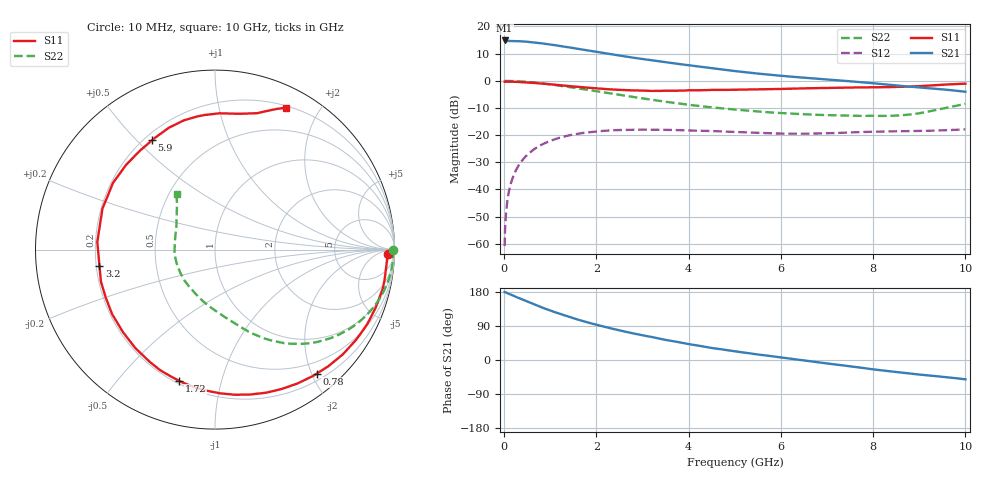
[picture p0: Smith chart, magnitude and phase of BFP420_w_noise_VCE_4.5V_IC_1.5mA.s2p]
! Infineon Technologies  Discrete & RF Semiconductors
! BFP420
! VCE =  4.5 V,  IC =  1.5 mA
! Common Emitter S-Parameters:  Jan 2016
# GHz  S  MA  R  50
!  f  S11  S21  S12  S22
! GHz  MAG  ANG  MAG  ANG  MAG  ANG  MAG  ANG
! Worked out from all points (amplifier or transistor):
!   233 points, 10 MHz to 10 GHz, reference 50 ohm
!   highest |S21| = 14.8 dB at 10 MHz (marker M1)
!   |S21| within 3 dB of that: start of sweep to 1.569 GHz
!   unconditionally stable (mu >= 1): 4.142 GHz to end of sweep
!   at 200 MHz: K = 0.06, MSG = 24.8 dB, |S12| = -35.0 dB
!   at 1.74 GHz: K = 0.31, MSG = 15.3 dB, |S12| = -19.2 dB
!   at 10 GHz: K = 1.27, MAG = 3.8 dB, |S12| = -17.9 dB
!   lowest NFmin = 0.52 dB at 900 MHz
!   S11 on the Smith chart (normalised r, x): 10 MHz: 39, -23; 780 MHz: 0.30, -2.07; 1.72 GHz: 0.22, -0.74; 3.2 GHz: 0.21, -0.07; 5.9 GHz: 0.23, +0.55; 10 GHz: 0.22, +1.60
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0.01  0.9628 -1.3  5.526 179.2  0.0009 54.1  0.9936 0.0
0.025  0.9619 -1.5  5.355 178.9  0.0023 73.1  0.9936 -0.8
0.06  0.9602 -3.9  5.385 176.8  0.0053 78.5  0.9938 -2.0
0.17  0.9593 -11.2  5.401 171.2  0.0151 81.0  0.99 -5.8
0.34  0.9481 -22.4  5.34 162.4  0.0298 75.9  0.9765 -11.6
0.5  0.9325 -32.8  5.229 154.1  0.0432 70.3  0.9558 -16.9
0.78  0.8936 -50.7  4.933 140.5  0.0642 60.3  0.9053 -25.6
1  0.8608 -64.5  4.661 130.4  0.0784 53.0  0.859 -31.9
1.2  0.8306 -76.4  4.389 121.9  0.0893 46.8  0.8137 -37.2
1.68  0.7634 -103.1  3.779 103.7  0.1084 33.7  0.7071 -48.0
1.72  0.7582 -105.2  3.729 102.3  0.1096 32.7  0.6987 -48.8
1.98  0.7286 -118.1  3.424 93.7  0.1162 26.6  0.6462 -53.7
2.4  0.6885 -138.3  3.007 81.0  0.1232 17.9  0.5677 -60.8
2.8  0.665 -156.3  2.662 70.1  0.1258 10.7  0.5024 -66.9
3.2  0.65 -172.1  2.377 60.7  0.1254 4.8  0.4477 -72.4
3.4  0.6518 -179.9  2.254 55.7  0.125 2.1  0.4226 -75.4
4  0.6673 160.0  1.935 42.0  0.1223 -4.4  0.361 -85.1
5.1  0.6844 134.5  1.477 21.3  0.1133 -11.8  0.2903 -104.7
5.9  0.7026 120.0  1.258 8.4  0.107 -13.4  0.2574 -120.4
6.8  0.7334 106.3  1.087 -5.8  0.1071 -13.0  0.2358 -140.5
8.4  0.7655 81.5  0.834 -30.3  0.1167 -16.4  0.2265 171.4
10  0.8857 63.3  0.628 -50.9  0.1275 -19.1  0.3754 124.6
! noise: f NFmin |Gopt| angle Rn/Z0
0.9  0.52  0.55  33  0.27
1.8  1.07  0.35  77  0.21
2.4  1.18  0.36  101  0.18
3  1.41  0.36  134  0.13
4  1.68  0.4  -172  0.1
5  2.08  0.44  -130  0.32
6  2.89  0.57  -114  0.39
